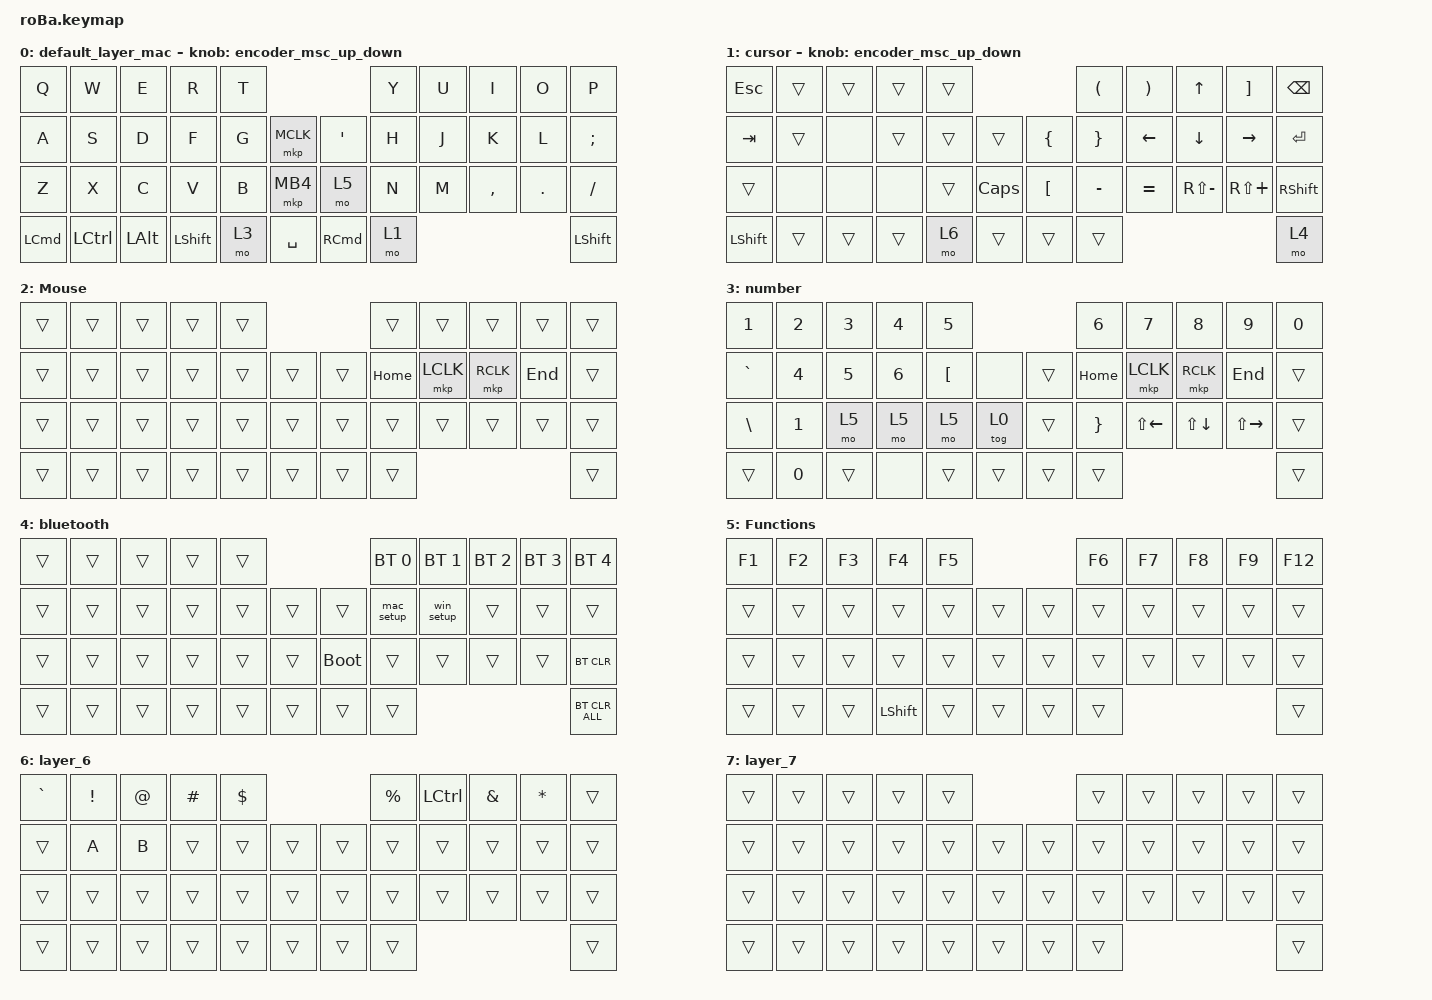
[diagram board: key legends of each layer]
#include <input/processors.dtsi>
#include <behaviors.dtsi>
#include <dt-bindings/zmk/bt.h>
#include <dt-bindings/zmk/keys.h>
#include <dt-bindings/zmk/pointing.h>

#define ZMK_POINTING_DEFAULT_SCRL_VAL 80

&mt {
    flavor = "hold-preferred";
    quick-tap-ms = <0>;
};

&trackball {
    // automouse-layer = <2>;

    scroll-layers = <5>;

    // arrows {
    //     layers = <3>;
    //     bindings =
    //         <&kp RIGHT_ARROW>,
    //         <&kp LEFT_ARROW>,
    //         <&kp UP_ARROW>,
    //         <&kp DOWN_ARROW>;
    //     tick = <10>;
    //     wait-ms = <5>;
    //     tap-ms = <5>;
    // };
};

&mkp_input_listener { input-processors = <&zip_temp_layer 2 250>; };

/ {
    combos { compatible = "zmk,combos"; };

    behaviors {
        encoder_msc_up_down: encoder_msc_up_down {
            compatible = "zmk,behavior-sensor-rotate";
            label = "ENCODER_MSC_UP_DOWN";
            #sensor-binding-cells = <0>;
            bindings = <&msc SCRL_UP>, <&msc SCRL_DOWN>;

            tap-ms = <20>;
        };

        encoder_msc_down_up: encoder_msc_down_up {
            compatible = "zmk,behavior-sensor-rotate";
            label = "ENCODER_MSC_DOWN_UP";
            #sensor-binding-cells = <0>;
            bindings = <&msc SCRL_DOWN>, <&msc SCRL_UP>;

            tap-ms = <20>;
        };
    };

    macros {
        mac_setup: osx_setup {
            compatible = "zmk,behavior-macro";
            #binding-cells = <0>;
            bindings = <&bt BT_SEL 0 &tog 0>;
            label = "OSX_SETUP";
        };

        win_setup: win_setup {
            compatible = "zmk,behavior-macro";
            #binding-cells = <0>;
            bindings = <&bt BT_SEL 1 &tog 0>;
            label = "WIN_SETUP";
        };
    };

    keymap {
        compatible = "zmk,keymap";

        default_layer_mac {
            bindings = <
&kp Q             &kp W             &kp E         &kp R           &kp T                                    &kp Y  &kp U  &kp I      &kp O    &kp P
&kp A             &kp S             &kp D         &kp F           &kp G  &mkp MCLK      &kp SINGLE_QUOTE   &kp H  &kp J  &kp K      &kp L    &kp SEMICOLON
&kp Z             &kp X             &kp C         &kp V           &kp B  &mkp MB4       &mo 5              &kp N  &kp M  &kp COMMA  &kp DOT  &kp SLASH
&kp LEFT_COMMAND  &kp LEFT_CONTROL  &kp LEFT_ALT  &kp LEFT_SHIFT  &mo 3  &kp SPACE      &kp RIGHT_COMMAND  &mo 1                             &kp LEFT_SHIFT
            >;

            sensor-bindings = <&encoder_msc_up_down>;
        };

        cursor {
            bindings = <
&kp ESCAPE      &trans  &trans  &trans  &trans                                      &kp LEFT_PARENTHESIS  &kp RIGHT_PARENTHESIS  &kp UP_ARROW   &kp RIGHT_BRACKET  &kp BACKSPACE
&kp TAB         &trans  &none   &trans  &trans  &trans            &kp LEFT_BRACE    &kp RIGHT_BRACE       &kp LEFT               &kp DOWN       &kp RIGHT          &kp ENTER
&trans          &none   &none   &none   &trans  &kp CAPSLOCK      &kp LEFT_BRACKET  &kp MINUS             &kp EQUAL              &kp RS(MINUS)  &kp RS(PLUS)       &kp RIGHT_SHIFT
&kp LEFT_SHIFT  &trans  &trans  &trans  &mo 6   &trans            &trans            &trans                                                                         &mo 4
            >;

            sensor-bindings = <&encoder_msc_up_down>;
        };

        Mouse {
            bindings = <
&trans  &trans  &trans  &trans  &trans                      &trans    &trans     &trans     &trans   &trans
&trans  &trans  &trans  &trans  &trans  &trans      &trans  &kp HOME  &mkp LCLK  &mkp RCLK  &kp END  &trans
&trans  &trans  &trans  &trans  &trans  &trans      &trans  &trans    &trans     &trans     &trans   &trans
&trans  &trans  &trans  &trans  &trans  &trans      &trans  &trans                                   &trans
            >;
        };

        number {
            bindings = <
&kp NUMBER_1   &kp NUMBER_2  &kp NUMBER_3  &kp NUMBER_4  &kp N5                                &kp NUMBER_6     &kp NUMBER_7        &kp NUMBER_8        &kp NUMBER_9         &kp NUMBER_0
&kp GRAVE      &kp NUMBER_4  &kp N5        &kp NUMBER_6  &kp LEFT_BRACKET  &none       &trans  &kp HOME         &mkp LCLK           &mkp RCLK           &kp END              &trans
&kp BACKSLASH  &kp NUMBER_1  &mo 5         &mo 5         &mo 5             &tog 0      &trans  &kp RIGHT_BRACE  &kp LS(LEFT_ARROW)  &kp LS(DOWN_ARROW)  &kp LS(RIGHT_ARROW)  &trans
&trans         &kp N0        &trans        &none         &trans            &trans      &trans  &trans                                                                        &trans
            >;
        };

        bluetooth {
            bindings = <
&trans  &trans  &trans  &trans  &trans                           &bt BT_SEL 0  &bt BT_SEL 1  &bt BT_SEL 2  &bt BT_SEL 3  &bt BT_SEL 4
&trans  &trans  &trans  &trans  &trans  &trans      &trans       &mac_setup    &win_setup    &trans        &trans        &trans
&trans  &trans  &trans  &trans  &trans  &trans      &bootloader  &trans        &trans        &trans        &trans        &bt BT_CLR
&trans  &trans  &trans  &trans  &trans  &trans      &trans       &trans                                                  &bt BT_CLR_ALL
            >;
        };

        Functions {
            bindings = <
&kp F1  &kp F2  &kp F3  &kp F4          &kp F5                      &kp F6  &kp F7  &kp F8  &kp F9  &kp F12
&trans  &trans  &trans  &trans          &trans  &trans      &trans  &trans  &trans  &trans  &trans  &trans
&trans  &trans  &trans  &trans          &trans  &trans      &trans  &trans  &trans  &trans  &trans  &trans
&trans  &trans  &trans  &kp LEFT_SHIFT  &trans  &trans      &trans  &trans                          &trans
            >;
        };

        layer_6 {
            bindings = <
&kp GRAVE  &kp EXCLAMATION  &kp AT_SIGN  &kp HASH  &kp DOLLAR                      &kp PERCENT  &kp LCTRL  &kp AMPERSAND  &kp ASTERISK  &trans
&trans     &kp A            &kp B        &trans    &trans      &trans      &trans  &trans       &trans     &trans         &trans        &trans
&trans     &trans           &trans       &trans    &trans      &trans      &trans  &trans       &trans     &trans         &trans        &trans
&trans     &trans           &trans       &trans    &trans      &trans      &trans  &trans                                               &trans
            >;
        };

        layer_7 {
            bindings = <
&trans  &trans  &trans  &trans  &trans                      &trans  &trans  &trans  &trans  &trans
&trans  &trans  &trans  &trans  &trans  &trans      &trans  &trans  &trans  &trans  &trans  &trans
&trans  &trans  &trans  &trans  &trans  &trans      &trans  &trans  &trans  &trans  &trans  &trans
&trans  &trans  &trans  &trans  &trans  &trans      &trans  &trans                          &trans
            >;
        };
    };
};
